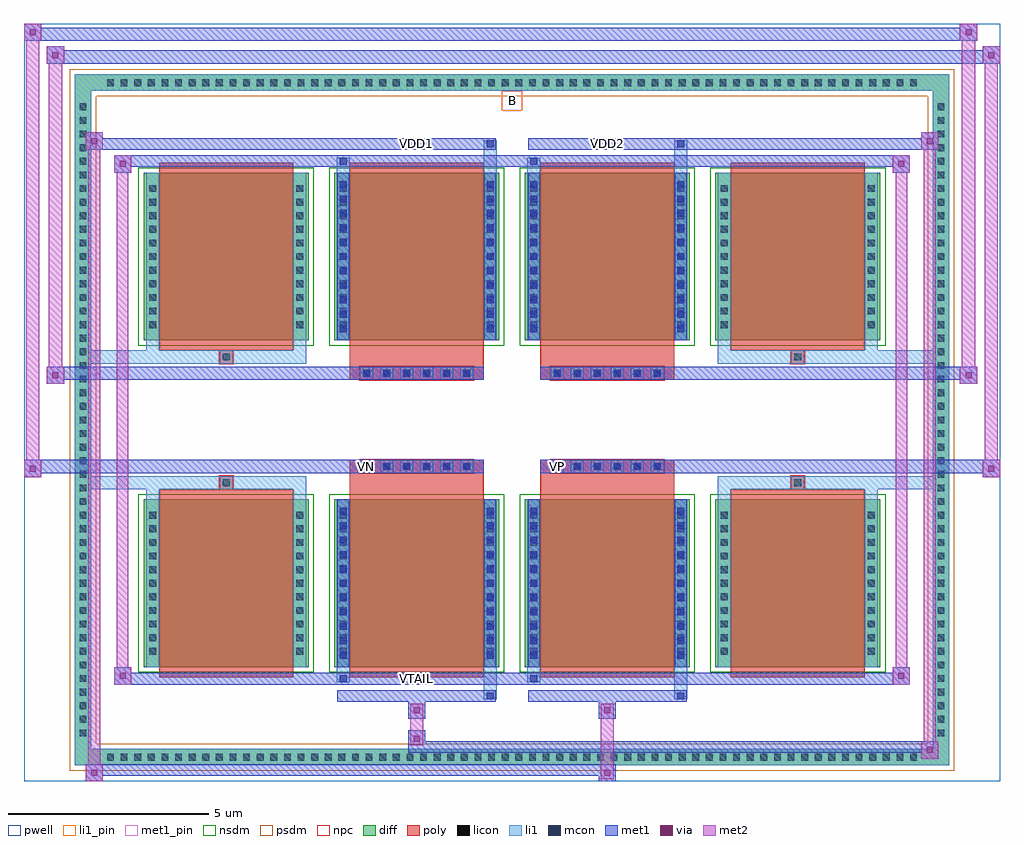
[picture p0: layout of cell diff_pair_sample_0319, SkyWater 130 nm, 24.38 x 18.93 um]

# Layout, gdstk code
import gdstk
lib = gdstk.Library(unit=1e-6, precision=5e-09)
def R(c, l, rs):  # rectangles x0, y0, x1, y1
    for r in rs: c.add(gdstk.rectangle(r[:2], r[2:], *l))
def A(c, l, x, y, w, h, nx, ny, dx, dy):  # array of equal rectangles
    R(c, l, [(x+i*dx, y+j*dy, x+i*dx+w, y+j*dy+h) for i in range(nx) for j in range(ny)])
def P(c, l, *ps):  # polygons
    for p in ps: c.add(gdstk.Polygon(p, *l))
pwell = (64, 44)
diff = (65, 20)
poly = (66, 20)
licon = (66, 44)
li1_pin = (67, 16)
li1 = (67, 20)
mcon = (67, 44)
met1_pin = (68, 16)
met1 = (68, 20)
via = (68, 44)
met2 = (69, 20)
nsdm = (93, 44)
psdm = (94, 20)
npc = (95, 20)

diff_pair_sample_0319 = lib.new_cell('diff_pair_sample_0319')
R(diff_pair_sample_0319, pwell, [(-12.19,-9.03,12.19,9.9), (-9.51,-7.22,-0.01,-0.8), (0.01,-7.22,9.51,-0.8), (-9.51,0.8,-0.01,7.22), (0.01,0.8,9.51,7.22)])
A(diff_pair_sample_0319, diff, -10.235, -8.63, 0.41, 0.41, 60, 2, 0.34, 16.85)
A(diff_pair_sample_0319, diff, -10.92, -8.025, 0.41, 0.41, 1, 47, 0, 0.34)
A(diff_pair_sample_0319, diff, 10.51, -8.025, 0.41, 0.41, 1, 47, 0, 0.34)
A(diff_pair_sample_0319, diff, -9.2, -6.175, 4.12, 4.19, 4, 2, 4.76, 8.16)
R(diff_pair_sample_0319, diff, [(-10.235,-8.63,10.235,-8.22), (-10.92,-8.025,-10.51,8.025), (10.51,-8.025,10.92,8.025), (-10.235,8.22,10.235,8.63)])
P(diff_pair_sample_0319, diff, [(10.92,8.63),(-10.92,8.63),(-10.92,-8.22),(-10.51,-8.22),(-10.51,8.22),(10.51,8.22),(10.51,-8.22),(-10.51,-8.22),(-10.92,-8.22),(-10.92,-8.63),(10.92,-8.63)])
A(diff_pair_sample_0319, poly, -8.81, -6.425, 3.34, 4.69, 4, 2, 4.76, 8.16)
A(diff_pair_sample_0319, poly, -3.795, -1.33, 0.33, 0.33, 6, 2, 0.5, 2.33)
A(diff_pair_sample_0319, poly, 0.965, -1.33, 0.33, 0.33, 6, 2, 0.5, 2.33)
R(diff_pair_sample_0319, poly, [(-7.305,-1.735,-6.975,-1.405), (-7.305,-1.735,-6.975,-1.405), (-4.05,-1.735,-0.71,-1.33), (0.71,-1.735,4.05,-1.33), (6.975,-1.735,7.305,-1.405), (6.975,-1.735,7.305,-1.405), (-4.05,-1.33,-0.71,-1), (0.71,-1.33,4.05,-1), (-4.05,1,-0.71,1.33), (0.71,1,4.05,1.33), (-4.05,1.33,-0.71,1.735), (0.71,1.33,4.05,1.735), (-7.305,1.405,-6.975,1.735), (-7.305,1.405,-6.975,1.735), (6.975,1.405,7.305,1.735), (6.975,1.405,7.305,1.735)])
A(diff_pair_sample_0319, licon, -10.115, -8.51, 0.17, 0.17, 60, 2, 0.34, 16.85)
A(diff_pair_sample_0319, licon, -10.8, -7.905, 0.17, 0.17, 1, 47, 0, 0.34)
A(diff_pair_sample_0319, licon, 10.63, -7.905, 0.17, 0.17, 1, 47, 0, 0.34)
A(diff_pair_sample_0319, licon, -9.06, -5.865, 0.17, 0.17, 1, 11, 0, 0.34)
A(diff_pair_sample_0319, licon, -5.39, -5.865, 0.17, 0.17, 1, 11, 0, 0.34)
A(diff_pair_sample_0319, licon, -4.3, -5.865, 0.17, 0.17, 1, 11, 0, 0.34)
A(diff_pair_sample_0319, licon, -0.63, -5.865, 0.17, 0.17, 1, 11, 0, 0.34)
A(diff_pair_sample_0319, licon, 0.46, -5.865, 0.17, 0.17, 1, 11, 0, 0.34)
A(diff_pair_sample_0319, licon, 4.13, -5.865, 0.17, 0.17, 1, 11, 0, 0.34)
A(diff_pair_sample_0319, licon, 5.22, -5.865, 0.17, 0.17, 1, 11, 0, 0.34)
A(diff_pair_sample_0319, licon, 8.89, -5.865, 0.17, 0.17, 1, 11, 0, 0.34)
A(diff_pair_sample_0319, licon, -3.715, -1.25, 0.17, 0.17, 6, 2, 0.5, 2.33)
A(diff_pair_sample_0319, licon, 1.045, -1.25, 0.17, 0.17, 6, 2, 0.5, 2.33)
A(diff_pair_sample_0319, licon, -9.06, 2.295, 0.17, 0.17, 1, 11, 0, 0.34)
A(diff_pair_sample_0319, licon, -5.39, 2.295, 0.17, 0.17, 1, 11, 0, 0.34)
A(diff_pair_sample_0319, licon, -4.3, 2.295, 0.17, 0.17, 1, 11, 0, 0.34)
A(diff_pair_sample_0319, licon, -0.63, 2.295, 0.17, 0.17, 1, 11, 0, 0.34)
A(diff_pair_sample_0319, licon, 0.46, 2.295, 0.17, 0.17, 1, 11, 0, 0.34)
A(diff_pair_sample_0319, licon, 4.13, 2.295, 0.17, 0.17, 1, 11, 0, 0.34)
A(diff_pair_sample_0319, licon, 5.22, 2.295, 0.17, 0.17, 1, 11, 0, 0.34)
A(diff_pair_sample_0319, licon, 8.89, 2.295, 0.17, 0.17, 1, 11, 0, 0.34)
R(diff_pair_sample_0319, licon, [(-7.225,-1.655,-7.055,-1.485), (7.055,-1.655,7.225,-1.485), (-7.225,1.485,-7.055,1.655), (7.055,1.485,7.225,1.655)])
R(diff_pair_sample_0319, li1_pin, [(-0.25,7.72,0.25,8.22)])
A(diff_pair_sample_0319, li1, -10.195, -8.59, 0.33, 0.33, 60, 2, 0.34, 16.85)
A(diff_pair_sample_0319, li1, -10.88, -7.985, 0.33, 0.33, 1, 47, 0, 0.34)
A(diff_pair_sample_0319, li1, 10.55, -7.985, 0.33, 0.33, 1, 47, 0, 0.34)
A(diff_pair_sample_0319, li1, -4.3, -5.965, 0.17, 0.17, 1, 11, 0, 0.36)
A(diff_pair_sample_0319, li1, -0.63, -5.965, 0.17, 0.17, 1, 11, 0, 0.36)
A(diff_pair_sample_0319, li1, 0.46, -5.965, 0.17, 0.17, 1, 11, 0, 0.36)
A(diff_pair_sample_0319, li1, 4.13, -5.965, 0.17, 0.17, 1, 11, 0, 0.36)
A(diff_pair_sample_0319, li1, -9.14, -5.945, 0.33, 0.33, 1, 11, 0, 0.34)
A(diff_pair_sample_0319, li1, -5.47, -5.945, 0.33, 0.33, 1, 11, 0, 0.34)
A(diff_pair_sample_0319, li1, -4.38, -5.945, 0.33, 0.33, 1, 11, 0, 0.34)
A(diff_pair_sample_0319, li1, -0.71, -5.945, 0.33, 0.33, 1, 11, 0, 0.34)
A(diff_pair_sample_0319, li1, 0.38, -5.945, 0.33, 0.33, 1, 11, 0, 0.34)
A(diff_pair_sample_0319, li1, 4.05, -5.945, 0.33, 0.33, 1, 11, 0, 0.34)
A(diff_pair_sample_0319, li1, 5.14, -5.945, 0.33, 0.33, 1, 11, 0, 0.34)
A(diff_pair_sample_0319, li1, 8.81, -5.945, 0.33, 0.33, 1, 11, 0, 0.34)
A(diff_pair_sample_0319, li1, -3.795, -1.33, 0.33, 0.33, 6, 2, 0.5, 2.33)
A(diff_pair_sample_0319, li1, 0.965, -1.33, 0.33, 0.33, 6, 2, 0.5, 2.33)
A(diff_pair_sample_0319, li1, -4.3, 2.195, 0.17, 0.17, 1, 11, 0, 0.36)
A(diff_pair_sample_0319, li1, -0.63, 2.195, 0.17, 0.17, 1, 11, 0, 0.36)
A(diff_pair_sample_0319, li1, 0.46, 2.195, 0.17, 0.17, 1, 11, 0, 0.36)
A(diff_pair_sample_0319, li1, 4.13, 2.195, 0.17, 0.17, 1, 11, 0, 0.36)
A(diff_pair_sample_0319, li1, -9.14, 2.215, 0.33, 0.33, 1, 11, 0, 0.34)
A(diff_pair_sample_0319, li1, -5.47, 2.215, 0.33, 0.33, 1, 11, 0, 0.34)
A(diff_pair_sample_0319, li1, -4.38, 2.215, 0.33, 0.33, 1, 11, 0, 0.34)
A(diff_pair_sample_0319, li1, -0.71, 2.215, 0.33, 0.33, 1, 11, 0, 0.34)
A(diff_pair_sample_0319, li1, 0.38, 2.215, 0.33, 0.33, 1, 11, 0, 0.34)
A(diff_pair_sample_0319, li1, 4.05, 2.215, 0.33, 0.33, 1, 11, 0, 0.34)
A(diff_pair_sample_0319, li1, 5.14, 2.215, 0.33, 0.33, 1, 11, 0, 0.34)
A(diff_pair_sample_0319, li1, 8.81, 2.215, 0.33, 0.33, 1, 11, 0, 0.34)
R(diff_pair_sample_0319, li1, [(-10.92,-8.63,-10.51,-8.22), (-10.92,-8.63,-10.51,-8.22), (-10.51,-8.63,10.51,-8.22), (10.51,-8.63,10.92,-8.22), (10.51,-8.63,10.92,-8.22), (-10.92,-8.22,-10.51,8.22), (10.51,-8.22,10.92,8.22), (-0.71,-6.98,-0.38,-6.175), (-0.63,-6.98,-0.46,-6.81), (4.05,-6.98,4.38,-6.175), (4.13,-6.98,4.3,-6.81), (-4.38,-6.55,-4.05,-6.175), (-4.3,-6.55,-4.13,-6.38), (0.38,-6.55,0.71,-6.175), (0.46,-6.55,0.63,-6.38), (-9.14,-6.175,-8.81,-1.985), (-5.47,-6.175,-5.14,-1.985), (-4.38,-6.175,-4.05,-1.985), (-0.71,-6.175,-0.38,-1.985), (0.38,-6.175,0.71,-1.985), (4.05,-6.175,4.38,-1.985), (5.14,-6.175,5.47,-1.985), (8.81,-6.175,9.14,-1.985), (-4.3,-5.965,-4.13,-2.195), (-0.63,-5.965,-0.46,-2.195), (0.46,-5.965,0.63,-2.195), (4.13,-5.965,4.3,-2.195), (-9.14,-1.985,-8.81,-1.405), (-5.47,-1.985,-5.14,-1.405), (5.14,-1.985,5.47,-1.405), (8.81,-1.985,9.14,-1.405), (-10.92,-1.735,-7.305,-1.405), (-9.14,-1.735,-7.305,-1.405), (-7.305,-1.735,-6.975,-1.405), (-6.975,-1.735,-5.14,-1.405), (5.14,-1.735,6.975,-1.405), (6.975,-1.735,7.305,-1.405), (6.975,-1.735,10.92,-1.405), (7.305,-1.735,9.14,-1.405), (-10.92,1.405,-7.305,1.735), (-9.14,1.405,-7.305,1.735), (-9.14,1.405,-8.81,1.985), (-7.305,1.405,-6.975,1.735), (-6.975,1.405,-5.14,1.735), (-5.47,1.405,-5.14,1.985), (5.14,1.405,6.975,1.735), (5.14,1.405,5.47,1.985), (6.975,1.405,7.305,1.735), (6.975,1.405,10.92,1.735), (7.305,1.405,9.14,1.735), (8.81,1.405,9.14,1.985), (-9.14,1.985,-8.81,6.175), (-5.47,1.985,-5.14,6.175), (-4.38,1.985,-4.05,6.175), (-0.71,1.985,-0.38,6.175), (0.38,1.985,0.71,6.175), (4.05,1.985,4.38,6.175), (5.14,1.985,5.47,6.175), (8.81,1.985,9.14,6.175), (-4.3,2.195,-4.13,5.965), (-0.63,2.195,-0.46,5.965), (0.46,2.195,0.63,5.965), (4.13,2.195,4.3,5.965), (-4.38,6.175,-4.05,6.55), (-0.71,6.175,-0.38,6.98), (0.38,6.175,0.71,6.55), (4.05,6.175,4.38,6.98), (-4.3,6.38,-4.13,6.55), (0.46,6.38,0.63,6.55), (-0.63,6.81,-0.46,6.98), (4.13,6.81,4.3,6.98), (-10.92,8.22,-10.51,8.63), (-10.92,8.22,-10.51,8.63), (-10.51,8.22,10.51,8.63), (10.51,8.22,10.92,8.63), (10.51,8.22,10.92,8.63)])
A(diff_pair_sample_0319, mcon, -4.3, -5.965, 0.17, 0.17, 1, 11, 0, 0.36)
A(diff_pair_sample_0319, mcon, -0.63, -5.965, 0.17, 0.17, 1, 11, 0, 0.36)
A(diff_pair_sample_0319, mcon, 0.46, -5.965, 0.17, 0.17, 1, 11, 0, 0.36)
A(diff_pair_sample_0319, mcon, 4.13, -5.965, 0.17, 0.17, 1, 11, 0, 0.36)
A(diff_pair_sample_0319, mcon, -3.715, -1.25, 0.17, 0.17, 6, 2, 0.5, 2.33)
A(diff_pair_sample_0319, mcon, 1.045, -1.25, 0.17, 0.17, 6, 2, 0.5, 2.33)
A(diff_pair_sample_0319, mcon, -4.3, 2.195, 0.17, 0.17, 1, 11, 0, 0.36)
A(diff_pair_sample_0319, mcon, -0.63, 2.195, 0.17, 0.17, 1, 11, 0, 0.36)
A(diff_pair_sample_0319, mcon, 0.46, 2.195, 0.17, 0.17, 1, 11, 0, 0.36)
A(diff_pair_sample_0319, mcon, 4.13, 2.195, 0.17, 0.17, 1, 11, 0, 0.36)
R(diff_pair_sample_0319, mcon, [(-0.63,-6.98,-0.46,-6.81), (4.13,-6.98,4.3,-6.81), (-4.3,-6.55,-4.13,-6.38), (0.46,-6.55,0.63,-6.38), (-4.3,6.38,-4.13,6.55), (0.46,6.38,0.63,6.55), (-0.63,6.81,-0.46,6.98), (4.13,6.81,4.3,6.98)])
R(diff_pair_sample_0319, met1_pin, [(-2.515,-6.59,-2.245,-6.32), (-3.765,-1.29,-3.495,-1.02), (0.995,-1.29,1.265,-1.02), (-2.515,6.77,-2.245,7.04), (2.245,6.77,2.515,7.04)])
A(diff_pair_sample_0319, met1, -4.36, -6.025, 0.29, 0.29, 1, 11, 0, 0.36)
A(diff_pair_sample_0319, met1, -0.69, -6.025, 0.29, 0.29, 1, 11, 0, 0.36)
A(diff_pair_sample_0319, met1, 0.4, -6.025, 0.29, 0.29, 1, 11, 0, 0.36)
A(diff_pair_sample_0319, met1, 4.07, -6.025, 0.29, 0.29, 1, 11, 0, 0.36)
A(diff_pair_sample_0319, met1, -3.775, -1.31, 0.29, 0.29, 6, 2, 0.5, 2.33)
A(diff_pair_sample_0319, met1, 0.985, -1.31, 0.29, 0.29, 6, 2, 0.5, 2.33)
A(diff_pair_sample_0319, met1, -4.36, 2.135, 0.29, 0.29, 1, 11, 0, 0.36)
A(diff_pair_sample_0319, met1, -0.69, 2.135, 0.29, 0.29, 1, 11, 0, 0.36)
A(diff_pair_sample_0319, met1, 0.4, 2.135, 0.29, 0.29, 1, 11, 0, 0.36)
A(diff_pair_sample_0319, met1, 4.07, 2.135, 0.29, 0.29, 1, 11, 0, 0.36)
R(diff_pair_sample_0319, met1, [(-10.65,-9.03,-10.22,-8.6), (2.165,-9.03,2.595,-8.6), (-10.65,-8.89,2.595,-8.6), (10.22,-8.46,10.65,-8.03), (-2.595,-8.32,10.65,-8.03), (-2.595,-8.18,-2.165,-7.75), (-2.595,-7.47,-2.165,-7.04), (2.165,-7.47,2.595,-7.04), (-4.36,-7.04,-0.4,-6.75), (-0.69,-7.04,-0.4,-6.75), (0.4,-7.04,4.36,-6.75), (4.07,-7.04,4.36,-6.75), (-9.94,-6.61,-9.51,-6.18), (-9.94,-6.61,-4.36,-6.32), (-4.36,-6.61,-4.07,-6.32), (-4.36,-6.61,-0.4,-6.32), (-0.4,-6.61,0.4,-6.32), (0.4,-6.61,0.69,-6.32), (0.4,-6.61,4.36,-6.32), (4.36,-6.61,9.94,-6.32), (9.51,-6.61,9.94,-6.18), (-4.36,-6.175,-4.07,-1.985), (-0.69,-6.175,-0.4,-1.985), (0.4,-6.175,0.69,-1.985), (4.07,-6.175,4.36,-1.985), (-12.19,-1.43,-11.76,-1), (11.76,-1.43,12.19,-1), (-12.19,-1.33,-0.71,-1), (-4.05,-1.33,-0.71,-1), (0.71,-1.33,4.05,-1), (0.71,-1.33,12.19,-1), (-11.62,0.9,-11.19,1.33), (11.19,0.9,11.62,1.33), (-11.62,1,-4.05,1.33), (-4.05,1,-0.71,1.33), (0.71,1,4.05,1.33), (4.05,1,11.62,1.33), (-4.36,1.985,-4.07,6.175), (-0.69,1.985,-0.4,6.175), (0.4,1.985,0.69,6.175), (4.07,1.985,4.36,6.175), (-9.94,6.18,-9.51,6.61), (9.51,6.18,9.94,6.61), (-9.94,6.32,-4.36,6.61), (-4.36,6.32,-4.07,6.61), (-4.36,6.32,-0.4,6.61), (-0.4,6.32,0.4,6.61), (0.4,6.32,0.69,6.61), (0.4,6.32,4.36,6.61), (4.36,6.32,9.94,6.61), (-10.65,6.75,-10.22,7.18), (-10.65,6.75,-4.36,7.04), (-4.36,6.75,-0.4,7.04), (-0.69,6.75,-0.4,7.04), (0.4,6.75,4.36,7.04), (4.07,6.75,4.36,7.04), (4.36,6.75,10.65,7.04), (10.22,6.75,10.65,7.18), (-11.62,8.9,-11.19,9.33), (-11.62,8.9,-9.51,9.23), (-9.51,8.9,9.51,9.23), (9.51,8.9,12.19,9.23), (11.76,8.9,12.19,9.33), (-12.19,9.47,-11.76,9.9), (-12.19,9.47,-9.51,9.8), (-9.51,9.47,9.51,9.8), (9.51,9.47,11.62,9.8), (11.19,9.47,11.62,9.9)])
R(diff_pair_sample_0319, via, [(-10.51,-8.89,-10.36,-8.74), (2.305,-8.89,2.455,-8.74), (10.36,-8.32,10.51,-8.17), (-2.455,-8.04,-2.305,-7.89), (-2.455,-7.33,-2.305,-7.18), (2.305,-7.33,2.455,-7.18), (-9.8,-6.47,-9.65,-6.32), (9.65,-6.47,9.8,-6.32), (-12.05,-1.29,-11.9,-1.14), (11.9,-1.29,12.05,-1.14), (-11.48,1.04,-11.33,1.19), (11.33,1.04,11.48,1.19), (-9.8,6.32,-9.65,6.47), (9.65,6.32,9.8,6.47), (-10.51,6.89,-10.36,7.04), (10.36,6.89,10.51,7.04), (-11.48,9.04,-11.33,9.19), (11.9,9.04,12.05,9.19), (-12.05,9.61,-11.9,9.76), (11.33,9.61,11.48,9.76)])
R(diff_pair_sample_0319, met2, [(-10.65,-9.03,-10.22,-8.6), (-10.58,-9.03,-10.29,7.18), (-10.29,-9.03,-10.22,-8.6), (-10.6,-8.98,-10.27,-8.65), (2.215,-8.98,2.545,-8.65), (2.215,-8.65,2.545,-7.42), (10.22,-8.46,10.65,-8.03), (10.29,-8.46,10.58,7.18), (10.58,-8.46,10.65,-8.03), (10.27,-8.41,10.6,-8.08), (-2.545,-8.13,-2.215,-7.8), (-2.545,-7.8,-2.215,-7.42), (-2.545,-7.42,-2.215,-7.09), (2.215,-7.42,2.545,-7.09), (-9.94,-6.61,-9.51,-6.18), (-9.87,-6.61,-9.58,6.61), (-9.58,-6.61,-9.51,-6.18), (9.51,-6.61,9.94,-6.18), (9.58,-6.61,9.87,6.61), (9.87,-6.61,9.94,-6.18), (-9.89,-6.56,-9.56,-6.23), (9.56,-6.56,9.89,-6.23), (-12.19,-1.43,-11.76,-1), (-12.14,-1.43,-11.81,9.9), (-11.81,-1.43,-11.76,-1), (11.76,-1.43,12.19,-1), (11.81,-1.43,12.14,9.33), (12.14,-1.43,12.19,-1), (-12.14,-1.38,-11.81,-1.05), (11.81,-1.38,12.14,-1.05), (-11.62,0.9,-11.19,1.33), (-11.57,0.9,-11.24,9.33), (-11.24,0.9,-11.19,1.33), (11.19,0.9,11.62,1.33), (11.24,0.9,11.57,9.9), (11.57,0.9,11.62,1.33), (-11.57,0.95,-11.24,1.28), (11.24,0.95,11.57,1.28), (-9.94,6.18,-9.51,6.61), (-9.58,6.18,-9.51,6.61), (9.51,6.18,9.94,6.61), (9.87,6.18,9.94,6.61), (-9.89,6.23,-9.56,6.56), (9.56,6.23,9.89,6.56), (-10.65,6.75,-10.22,7.18), (-10.29,6.75,-10.22,7.18), (10.22,6.75,10.65,7.18), (10.58,6.75,10.65,7.18), (-10.6,6.8,-10.27,7.13), (10.27,6.8,10.6,7.13), (-11.62,8.9,-11.19,9.33), (-11.24,8.9,-11.19,9.33), (11.76,8.9,12.19,9.33), (12.14,8.9,12.19,9.33), (-11.57,8.95,-11.24,9.28), (11.81,8.95,12.14,9.28), (-12.19,9.47,-11.76,9.9), (-11.81,9.47,-11.76,9.9), (11.19,9.47,11.62,9.9), (11.57,9.47,11.62,9.9), (-12.14,9.52,-11.81,9.85), (11.24,9.52,11.57,9.85)])
A(diff_pair_sample_0319, nsdm, -9.33, -6.305, 4.38, 4.45, 4, 2, 4.76, 8.16)
P(diff_pair_sample_0319, psdm, [(11.05,8.76),(-11.05,8.76),(-11.05,-8.09),(-10.38,-8.09),(-10.38,8.09),(10.38,8.09),(10.38,-8.09),(-10.38,-8.09),(-11.05,-8.09),(-11.05,-8.76),(11.05,-8.76)])
A(diff_pair_sample_0319, npc, -3.815, -1.35, 0.37, 0.37, 6, 2, 0.5, 2.33)
A(diff_pair_sample_0319, npc, 0.945, -1.35, 0.37, 0.37, 6, 2, 0.5, 2.33)
R(diff_pair_sample_0319, npc, [(-7.325,-1.755,-6.955,-1.385), (6.955,-1.755,7.325,-1.385), (-3.815,-1.35,-2.945,-0.98), (-3.815,-1.35,-2.945,-0.98), (-3.315,-1.35,-2.445,-0.98), (-3.315,-1.35,-2.445,-0.98), (-2.815,-1.35,-1.945,-0.98), (-2.815,-1.35,-1.945,-0.98), (-2.315,-1.35,-1.445,-0.98), (-2.315,-1.35,-1.445,-0.98), (-1.815,-1.35,-0.945,-0.98), (-1.815,-1.35,-0.945,-0.98), (0.945,-1.35,1.815,-0.98), (0.945,-1.35,1.815,-0.98), (1.445,-1.35,2.315,-0.98), (1.445,-1.35,2.315,-0.98), (1.945,-1.35,2.815,-0.98), (1.945,-1.35,2.815,-0.98), (2.445,-1.35,3.315,-0.98), (2.445,-1.35,3.315,-0.98), (2.945,-1.35,3.815,-0.98), (2.945,-1.35,3.815,-0.98), (-3.815,0.98,-2.945,1.35), (-3.815,0.98,-2.945,1.35), (-3.315,0.98,-2.445,1.35), (-3.315,0.98,-2.445,1.35), (-2.815,0.98,-1.945,1.35), (-2.815,0.98,-1.945,1.35), (-2.315,0.98,-1.445,1.35), (-2.315,0.98,-1.445,1.35), (-1.815,0.98,-0.945,1.35), (-1.815,0.98,-0.945,1.35), (0.945,0.98,1.815,1.35), (0.945,0.98,1.815,1.35), (1.445,0.98,2.315,1.35), (1.445,0.98,2.315,1.35), (1.945,0.98,2.815,1.35), (1.945,0.98,2.815,1.35), (2.445,0.98,3.315,1.35), (2.445,0.98,3.315,1.35), (2.945,0.98,3.815,1.35), (2.945,0.98,3.815,1.35), (-7.325,1.385,-6.955,1.755), (6.955,1.385,7.325,1.755)])
diff_pair_sample_0319.add(gdstk.Label('VTAIL', (-2.38,-6.455), layer=68, texttype=5))
diff_pair_sample_0319.add(gdstk.Label('VN', (-3.63,-1.155), layer=68, texttype=5))
diff_pair_sample_0319.add(gdstk.Label('VP', (1.13,-1.155), layer=68, texttype=5))
diff_pair_sample_0319.add(gdstk.Label('B', (0,7.97), layer=67, texttype=5))
diff_pair_sample_0319.add(gdstk.Label('VDD2', (2.38,6.905), layer=68, texttype=5))
diff_pair_sample_0319.add(gdstk.Label('VDD1', (-2.38,6.905), layer=68, texttype=5))

lib.write_gds('diff_pair_sample_0319.gds')
